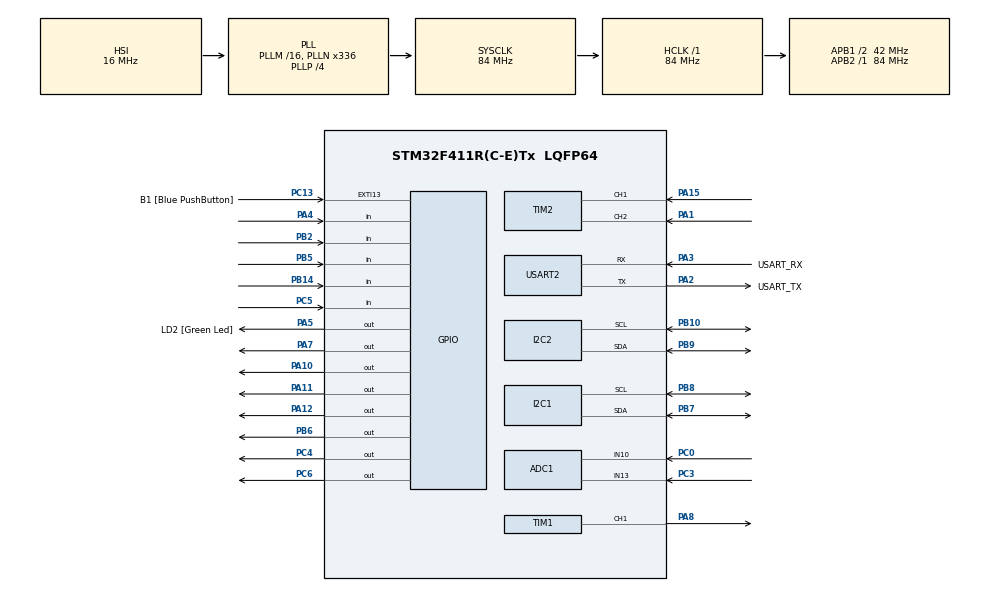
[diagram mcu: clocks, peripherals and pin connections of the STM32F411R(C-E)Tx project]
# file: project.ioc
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ADC1.Channel-0\#ChannelRegularConversion=ADC_CHANNEL_10
ADC1.ContinuousConvMode=ENABLE
ADC1.DMAContinuousRequests=ENABLE
ADC1.DiscontinuousConvMode=DISABLE
ADC1.NbrOfConversionFlag=1
ADC1.Rank-0\#ChannelRegularConversion=1
ADC1.SamplingTime-0\#ChannelRegularConversion=ADC_SAMPLETIME_56CYCLES
ADC1.ScanConvMode=ENABLE
ADC1.master=1
Dma.ADC1.0.Direction=DMA_PERIPH_TO_MEMORY
Dma.ADC1.0.FIFOMode=DMA_FIFOMODE_DISABLE
Dma.ADC1.0.Instance=DMA2_Stream0
Dma.ADC1.0.MemDataAlignment=DMA_MDATAALIGN_HALFWORD
Dma.ADC1.0.MemInc=DMA_MINC_ENABLE
Dma.ADC1.0.Mode=DMA_NORMAL
Dma.ADC1.0.PeriphDataAlignment=DMA_PDATAALIGN_HALFWORD
Dma.ADC1.0.PeriphInc=DMA_PINC_DISABLE
Dma.ADC1.0.Priority=DMA_PRIORITY_LOW
Dma.Request0=ADC1
Mcu.Family=STM32F4
Mcu.Name=STM32F411R(C-E)Tx
Mcu.Package=LQFP64
NVIC.ADC_IRQn=true\:0\:0\:false\:false\:true\:true\:true\:true
NVIC.DMA2_Stream0_IRQn=true\:0\:0\:false\:false\:true\:false\:true\:true
NVIC.PriorityGroup=NVIC_PRIORITYGROUP_0
PA1.Signal=S_TIM2_CH2
PA10.Signal=GPIO_Output
PA11.Signal=GPIO_Output
PA12.Signal=GPIO_Output
PA13.GPIO_Label=TMS
PA13.Mode=Serial_Wire
PA13.Signal=SYS_JTMS-SWDIO
PA14.GPIO_Label=TCK
PA14.Mode=Serial_Wire
PA14.Signal=SYS_JTCK-SWCLK
PA15.Signal=S_TIM2_CH1_ETR
PA2.GPIO_Label=USART_TX
PA2.Mode=Asynchronous
PA2.Signal=USART2_TX
PA3.GPIO_Label=USART_RX
PA3.Mode=Asynchronous
PA3.Signal=USART2_RX
PA4.Signal=GPIO_Input
PA5.GPIO_Label=LD2 [Green Led]
PA5.Signal=GPIO_Output
PA7.Signal=GPIO_Output
PA8.Signal=S_TIM1_CH1
PB10.Mode=I2C
PB10.Signal=I2C2_SCL
PB14.Signal=GPIO_Input
PB2.Signal=GPIO_Input
PB3.Signal=SYS_JTDO-SWO
PB5.Signal=GPIO_Input
PB6.GPIO_ModeDefaultOutputPP=GPIO_MODE_OUTPUT_OD
PB6.GPIO_PuPd=GPIO_PULLUP
PB6.Signal=GPIO_Output
PB7.Mode=I2C
PB7.Signal=I2C1_SDA
PB8.Mode=I2C
PB8.Signal=I2C1_SCL
PB9.Mode=I2C
PB9.Signal=I2C2_SDA
PC0.Signal=ADCx_IN10
PC13-ANTI_TAMP.GPIO_Label=B1 [Blue PushButton]
PC13-ANTI_TAMP.GPIO_ModeDefaultEXTI=GPIO_MODE_IT_FALLING
PC13-ANTI_TAMP.Signal=GPXTI13
PC14-OSC32_IN.Mode=LSE-External-Oscillator
PC14-OSC32_IN.Signal=RCC_OSC32_IN
PC15-OSC32_OUT.Mode=LSE-External-Oscillator
PC15-OSC32_OUT.Signal=RCC_OSC32_OUT
PC3.Signal=ADCx_IN13
PC4.Signal=GPIO_Output
PC5.GPIO_PuPd=GPIO_PULLUP
PC5.Signal=GPIO_Input
PC6.Signal=GPIO_Output
PH0\ -\ OSC_IN.Mode=HSE-External-Clock-Source
PH0\ -\ OSC_IN.Signal=RCC_OSC_IN
PH1\ -\ OSC_OUT.Mode=HSE-External-Clock-Source
PH1\ -\ OSC_OUT.Signal=RCC_OSC_OUT
ProjectManager.HeapSize=0x200
ProjectManager.StackSize=0x400
ProjectManager.TargetToolchain=STM32CubeIDE
RCC.48MHZClocksFreq_Value=84000000
RCC.AHBFreq_Value=84000000
RCC.APB1CLKDivider=RCC_HCLK_DIV2
RCC.APB1Freq_Value=42000000
RCC.APB1TimFreq_Value=84000000
RCC.APB2Freq_Value=84000000
RCC.APB2TimFreq_Value=84000000
RCC.CortexFreq_Value=84000000
RCC.FLatency-AdvancedSettings=FLASH_LATENCY_2
RCC.HCLKFreq_Value=84000000
RCC.HSE_VALUE=8000000
RCC.HSI_VALUE=16000000
RCC.PLLN=336
RCC.PLLP=RCC_PLLP_DIV4
RCC.SYSCLKFreq_VALUE=84000000
RCC.SYSCLKSource=RCC_SYSCLKSOURCE_PLLCLK
RCC.VCOOutputFreq_Value=336000000
SH.ADCx_IN10.0=ADC1_IN10,IN10
SH.ADCx_IN13.0=ADC1_IN13,IN13
SH.S_TIM1_CH1.0=TIM1_CH1,PWM Generation1 CH1
SH.S_TIM2_CH1_ETR.0=TIM2_CH1,Encoder_Interface
SH.S_TIM2_CH2.0=TIM2_CH2,Encoder_Interface
TIM1.Channel-PWM\ Generation1\ CH1=TIM_CHANNEL_1
TIM1.Period=999
TIM1.Prescaler=83
TIM2.EncoderMode=TIM_ENCODERMODE_TI12
USART2.VirtualMode=VM_ASYNC
VP_TIM5_VS_ClockSourceINT.Mode=Internal
board=NUCLEO-F411RE

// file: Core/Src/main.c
/* USER CODE BEGIN Header */
/**
 ******************************************************************************
 * @file           : main.c
 * @brief          : Main program body
 ******************************************************************************
 * @attention
 *
 * Copyright (c) 2023 STMicroelectronics.
 * All rights reserved.
 *
 * This software is licensed under terms that can be found in the LICENSE file
 * in the root directory of this software component.
 * If no LICENSE file comes with this software, it is provided AS-IS.
 *
 ******************************************************************************
 */
/* USER CODE END Header */
#include "main.h"

ADC_HandleTypeDef hadc1;
DMA_HandleTypeDef hdma_adc1;

I2C_HandleTypeDef hi2c1;
I2C_HandleTypeDef hi2c2;

TIM_HandleTypeDef htim1;
TIM_HandleTypeDef htim2;
TIM_HandleTypeDef htim5;

UART_HandleTypeDef huart2;

/* USER CODE BEGIN PV */
typedef struct {
	ADC_ChannelConfTypeDef Config;
	uint16_t data;
} ADCStruct;
ADCStruct ADCChannel[2];

uint16_t buffer[5];
uint8_t Emergency_signal = 1;
/* USER CODE END PV */

void SystemClock_Config(void);
static void MX_GPIO_Init(void);
static void MX_DMA_Init(void);
static void MX_USART2_UART_Init(void);
static void MX_TIM1_Init(void);
static void MX_TIM2_Init(void);
static void MX_TIM5_Init(void);
static void MX_ADC1_Init(void);
static void MX_I2C1_Init(void);
static void MX_I2C2_Init(void);

int main(void) {

	/* MCU Configuration--------------------------------------------------------*/

	/* Reset of all peripherals, Initializes the Flash interface and the Systick. */
	HAL_Init();

	/* Configure the system clock */
	SystemClock_Config();

	/* Initialize all configured peripherals */
	MX_GPIO_Init();
	MX_DMA_Init();
	MX_USART2_UART_Init();
	MX_TIM1_Init();
	MX_TIM2_Init();
	MX_TIM5_Init();
	MX_ADC1_Init();
	MX_I2C1_Init();
	MX_I2C2_Init();
	/* USER CODE BEGIN 2 */
	HAL_TIM_Base_Start(&htim1);
	HAL_TIM_PWM_Start(&htim1, TIM_CHANNEL_1);

	HAL_ADC_Start_DMA(&hadc1, buffer, 5);
	/* USER CODE END 2 */

	/* Infinite loop */
	while (1) {

		/* USER CODE BEGIN 3 */
		static uint32_t timestamp = 0;
		static uint8_t step = 1;
		Emergency_signal = HAL_GPIO_ReadPin(GPIOC, GPIO_PIN_5);
		if (Emergency_signal) {
			if (HAL_GetTick() > timestamp) {
				timestamp = HAL_GetTick() + 1000;
				switch (step) {
				case 1:
					HAL_GPIO_WritePin(GPIOA, GPIO_PIN_10, 1);
					HAL_GPIO_WritePin(GPIOA, GPIO_PIN_11, 0);
					HAL_GPIO_WritePin(GPIOA, GPIO_PIN_12, 0);
					step += 1;
					break;
				case 2:
					HAL_GPIO_WritePin(GPIOA, GPIO_PIN_10, 0);
					HAL_GPIO_WritePin(GPIOA, GPIO_PIN_11, 1);
					HAL_GPIO_WritePin(GPIOA, GPIO_PIN_12, 0);
					step += 1;
					break;
				case 3:
					HAL_GPIO_WritePin(GPIOA, GPIO_PIN_10, 0);
					HAL_GPIO_WritePin(GPIOA, GPIO_PIN_11, 0);
					HAL_GPIO_WritePin(GPIOA, GPIO_PIN_12, 1);
					step = 1;
					break;
				}
			}
			// HAL_GPIO_TogglePin(GPIOA, GPIO_PIN_10);
			// HAL_GPIO_TogglePin(GPIOA, GPIO_PIN_11);
			//HAL_GPIO_TogglePin(GPIOA, GPIO_PIN_12);
			//HAL_GPIO_TogglePin(GPIOC, GPIO_PIN_6);
			//__HAL_TIM_SET_COMPARE(&htim1, TIM_CHANNEL_1, 1000);

		} else {
			HAL_GPIO_WritePin(GPIOA, GPIO_PIN_10, 1);
			HAL_GPIO_WritePin(GPIOA, GPIO_PIN_11, 1);
			HAL_GPIO_WritePin(GPIOA, GPIO_PIN_12, 1);
		}
	}
	/* USER CODE END 3 */
}

void SystemClock_Config(void) {
	RCC_OscInitTypeDef RCC_OscInitStruct = { 0 };
	RCC_ClkInitTypeDef RCC_ClkInitStruct = { 0 };

	/** Configure the main internal regulator output voltage
	 */
	__HAL_RCC_PWR_CLK_ENABLE();
	__HAL_PWR_VOLTAGESCALING_CONFIG(PWR_REGULATOR_VOLTAGE_SCALE1);

	/** Initializes the RCC Oscillators according to the specified parameters
	 * in the RCC_OscInitTypeDef structure.
	 */
	RCC_OscInitStruct.OscillatorType = RCC_OSCILLATORTYPE_HSI;
	RCC_OscInitStruct.HSIState = RCC_HSI_ON;
	RCC_OscInitStruct.HSICalibrationValue = RCC_HSICALIBRATION_DEFAULT;
	RCC_OscInitStruct.PLL.PLLState = RCC_PLL_ON;
	RCC_OscInitStruct.PLL.PLLSource = RCC_PLLSOURCE_HSI;
	RCC_OscInitStruct.PLL.PLLM = 16;
	RCC_OscInitStruct.PLL.PLLN = 336;
	RCC_OscInitStruct.PLL.PLLP = RCC_PLLP_DIV4;
	RCC_OscInitStruct.PLL.PLLQ = 4;
	if (HAL_RCC_OscConfig(&RCC_OscInitStruct) != HAL_OK) {
		Error_Handler();
	}

	/** Initializes the CPU, AHB and APB buses clocks
	 */
	RCC_ClkInitStruct.ClockType = RCC_CLOCKTYPE_HCLK | RCC_CLOCKTYPE_SYSCLK
			| RCC_CLOCKTYPE_PCLK1 | RCC_CLOCKTYPE_PCLK2;
	RCC_ClkInitStruct.SYSCLKSource = RCC_SYSCLKSOURCE_PLLCLK;
	RCC_ClkInitStruct.AHBCLKDivider = RCC_SYSCLK_DIV1;
	RCC_ClkInitStruct.APB1CLKDivider = RCC_HCLK_DIV2;
	RCC_ClkInitStruct.APB2CLKDivider = RCC_HCLK_DIV1;

	if (HAL_RCC_ClockConfig(&RCC_ClkInitStruct, FLASH_LATENCY_2) != HAL_OK) {
		Error_Handler();
	}
}

static void MX_ADC1_Init(void) {

	ADC_ChannelConfTypeDef sConfig = { 0 };

	/** Configure the global features of the ADC (Clock, Resolution, Data Alignment and number of conversion)
	 */
	hadc1.Instance = ADC1;
	hadc1.Init.ClockPrescaler = ADC_CLOCK_SYNC_PCLK_DIV4;
	hadc1.Init.Resolution = ADC_RESOLUTION_12B;
	hadc1.Init.ScanConvMode = ENABLE;
	hadc1.Init.ContinuousConvMode = ENABLE;
	hadc1.Init.DiscontinuousConvMode = DISABLE;
	hadc1.Init.ExternalTrigConvEdge = ADC_EXTERNALTRIGCONVEDGE_NONE;
	hadc1.Init.ExternalTrigConv = ADC_SOFTWARE_START;
	hadc1.Init.DataAlign = ADC_DATAALIGN_RIGHT;
	hadc1.Init.NbrOfConversion = 1;
	hadc1.Init.DMAContinuousRequests = ENABLE;
	hadc1.Init.EOCSelection = ADC_EOC_SINGLE_CONV;
	if (HAL_ADC_Init(&hadc1) != HAL_OK) {
		Error_Handler();
	}

	/** Configure for the selected ADC regular channel its corresponding rank in the sequencer and its sample time.
	 */
	sConfig.Channel = ADC_CHANNEL_10;
	sConfig.Rank = 1;
	sConfig.SamplingTime = ADC_SAMPLETIME_56CYCLES;
	if (HAL_ADC_ConfigChannel(&hadc1, &sConfig) != HAL_OK) {
		Error_Handler();
	}

}

static void MX_I2C1_Init(void) {

	hi2c1.Instance = I2C1;
	hi2c1.Init.ClockSpeed = 100000;
	hi2c1.Init.DutyCycle = I2C_DUTYCYCLE_2;
	hi2c1.Init.OwnAddress1 = 0;
	hi2c1.Init.AddressingMode = I2C_ADDRESSINGMODE_7BIT;
	hi2c1.Init.DualAddressMode = I2C_DUALADDRESS_DISABLE;
	hi2c1.Init.OwnAddress2 = 0;
	hi2c1.Init.GeneralCallMode = I2C_GENERALCALL_DISABLE;
	hi2c1.Init.NoStretchMode = I2C_NOSTRETCH_DISABLE;
	if (HAL_I2C_Init(&hi2c1) != HAL_OK) {
		Error_Handler();
	}

}

static void MX_I2C2_Init(void) {

	hi2c2.Instance = I2C2;
	hi2c2.Init.ClockSpeed = 100000;
	hi2c2.Init.DutyCycle = I2C_DUTYCYCLE_2;
	hi2c2.Init.OwnAddress1 = 0;
	hi2c2.Init.AddressingMode = I2C_ADDRESSINGMODE_7BIT;
	hi2c2.Init.DualAddressMode = I2C_DUALADDRESS_DISABLE;
	hi2c2.Init.OwnAddress2 = 0;
	hi2c2.Init.GeneralCallMode = I2C_GENERALCALL_DISABLE;
	hi2c2.Init.NoStretchMode = I2C_NOSTRETCH_DISABLE;
	if (HAL_I2C_Init(&hi2c2) != HAL_OK) {
		Error_Handler();
	}

}

static void MX_TIM1_Init(void) {

	TIM_MasterConfigTypeDef sMasterConfig = { 0 };
	TIM_OC_InitTypeDef sConfigOC = { 0 };
	TIM_BreakDeadTimeConfigTypeDef sBreakDeadTimeConfig = { 0 };

	htim1.Instance = TIM1;
	htim1.Init.Prescaler = 83;
	htim1.Init.CounterMode = TIM_COUNTERMODE_UP;
	htim1.Init.Period = 999;
	htim1.Init.ClockDivision = TIM_CLOCKDIVISION_DIV1;
	htim1.Init.RepetitionCounter = 0;
	htim1.Init.AutoReloadPreload = TIM_AUTORELOAD_PRELOAD_DISABLE;
	if (HAL_TIM_PWM_Init(&htim1) != HAL_OK) {
		Error_Handler();
	}
	sMasterConfig.MasterOutputTrigger = TIM_TRGO_RESET;
	sMasterConfig.MasterSlaveMode = TIM_MASTERSLAVEMODE_DISABLE;
	if (HAL_TIMEx_MasterConfigSynchronization(&htim1, &sMasterConfig)
			!= HAL_OK) {
		Error_Handler();
	}
	sConfigOC.OCMode = TIM_OCMODE_PWM1;
	sConfigOC.Pulse = 0;
	sConfigOC.OCPolarity = TIM_OCPOLARITY_HIGH;
	sConfigOC.OCNPolarity = TIM_OCNPOLARITY_HIGH;
	sConfigOC.OCFastMode = TIM_OCFAST_DISABLE;
	sConfigOC.OCIdleState = TIM_OCIDLESTATE_RESET;
	sConfigOC.OCNIdleState = TIM_OCNIDLESTATE_RESET;
	if (HAL_TIM_PWM_ConfigChannel(&htim1, &sConfigOC, TIM_CHANNEL_1)
			!= HAL_OK) {
		Error_Handler();
	}
	sBreakDeadTimeConfig.OffStateRunMode = TIM_OSSR_DISABLE;
	sBreakDeadTimeConfig.OffStateIDLEMode = TIM_OSSI_DISABLE;
	sBreakDeadTimeConfig.LockLevel = TIM_LOCKLEVEL_OFF;
	sBreakDeadTimeConfig.DeadTime = 0;
	sBreakDeadTimeConfig.BreakState = TIM_BREAK_DISABLE;
	sBreakDeadTimeConfig.BreakPolarity = TIM_BREAKPOLARITY_HIGH;
	sBreakDeadTimeConfig.AutomaticOutput = TIM_AUTOMATICOUTPUT_DISABLE;
	if (HAL_TIMEx_ConfigBreakDeadTime(&htim1, &sBreakDeadTimeConfig)
			!= HAL_OK) {
		Error_Handler();
	}
	HAL_TIM_MspPostInit(&htim1);

}

static void MX_TIM2_Init(void) {

	TIM_Encoder_InitTypeDef sConfig = { 0 };
	TIM_MasterConfigTypeDef sMasterConfig = { 0 };

	htim2.Instance = TIM2;
	htim2.Init.Prescaler = 0;
	htim2.Init.CounterMode = TIM_COUNTERMODE_UP;
	htim2.Init.Period = 4294967295;
	htim2.Init.ClockDivision = TIM_CLOCKDIVISION_DIV1;
	htim2.Init.AutoReloadPreload = TIM_AUTORELOAD_PRELOAD_DISABLE;
	sConfig.EncoderMode = TIM_ENCODERMODE_TI12;
	sConfig.IC1Polarity = TIM_ICPOLARITY_RISING;
	sConfig.IC1Selection = TIM_ICSELECTION_DIRECTTI;
	sConfig.IC1Prescaler = TIM_ICPSC_DIV1;
	sConfig.IC1Filter = 0;
	sConfig.IC2Polarity = TIM_ICPOLARITY_RISING;
	sConfig.IC2Selection = TIM_ICSELECTION_DIRECTTI;
	sConfig.IC2Prescaler = TIM_ICPSC_DIV1;
	sConfig.IC2Filter = 0;
	if (HAL_TIM_Encoder_Init(&htim2, &sConfig) != HAL_OK) {
		Error_Handler();
	}
	sMasterConfig.MasterOutputTrigger = TIM_TRGO_RESET;
	sMasterConfig.MasterSlaveMode = TIM_MASTERSLAVEMODE_DISABLE;
	if (HAL_TIMEx_MasterConfigSynchronization(&htim2, &sMasterConfig)
			!= HAL_OK) {
		Error_Handler();
	}

}

static void MX_TIM5_Init(void) {

	TIM_ClockConfigTypeDef sClockSourceConfig = { 0 };
	TIM_MasterConfigTypeDef sMasterConfig = { 0 };

	htim5.Instance = TIM5;
	htim5.Init.Prescaler = 0;
	htim5.Init.CounterMode = TIM_COUNTERMODE_UP;
	htim5.Init.Period = 4294967295;
	htim5.Init.ClockDivision = TIM_CLOCKDIVISION_DIV1;
	htim5.Init.AutoReloadPreload = TIM_AUTORELOAD_PRELOAD_DISABLE;
	if (HAL_TIM_Base_Init(&htim5) != HAL_OK) {
		Error_Handler();
	}
	sClockSourceConfig.ClockSource = TIM_CLOCKSOURCE_INTERNAL;
	if (HAL_TIM_ConfigClockSource(&htim5, &sClockSourceConfig) != HAL_OK) {
		Error_Handler();
	}
	sMasterConfig.MasterOutputTrigger = TIM_TRGO_RESET;
	sMasterConfig.MasterSlaveMode = TIM_MASTERSLAVEMODE_DISABLE;
	if (HAL_TIMEx_MasterConfigSynchronization(&htim5, &sMasterConfig)
			!= HAL_OK) {
		Error_Handler();
	}

}

static void MX_USART2_UART_Init(void) {

	huart2.Instance = USART2;
	huart2.Init.BaudRate = 115200;
	huart2.Init.WordLength = UART_WORDLENGTH_8B;
	huart2.Init.StopBits = UART_STOPBITS_1;
	huart2.Init.Parity = UART_PARITY_NONE;
	huart2.Init.Mode = UART_MODE_TX_RX;
	huart2.Init.HwFlowCtl = UART_HWCONTROL_NONE;
	huart2.Init.OverSampling = UART_OVERSAMPLING_16;
	if (HAL_UART_Init(&huart2) != HAL_OK) {
		Error_Handler();
	}

}

static void MX_DMA_Init(void) {

	/* DMA controller clock enable */
	__HAL_RCC_DMA2_CLK_ENABLE();

	/* DMA interrupt init */
	/* DMA2_Stream0_IRQn interrupt configuration */
	HAL_NVIC_SetPriority(DMA2_Stream0_IRQn, 0, 0);
	HAL_NVIC_EnableIRQ(DMA2_Stream0_IRQn);

}

static void MX_GPIO_Init(void) {
	GPIO_InitTypeDef GPIO_InitStruct = { 0 };

	/* GPIO Ports Clock Enable */
	__HAL_RCC_GPIOC_CLK_ENABLE();
	__HAL_RCC_GPIOH_CLK_ENABLE();
	__HAL_RCC_GPIOA_CLK_ENABLE();
	__HAL_RCC_GPIOB_CLK_ENABLE();

	/*Configure GPIO pin Output Level */
	HAL_GPIO_WritePin(GPIOA,
	LD2_Pin | GPIO_PIN_7 | GPIO_PIN_10 | GPIO_PIN_11 | GPIO_PIN_12,
			GPIO_PIN_RESET);

	/*Configure GPIO pin Output Level */
	HAL_GPIO_WritePin(GPIOC, GPIO_PIN_4 | GPIO_PIN_6, GPIO_PIN_RESET);

	/*Configure GPIO pin Output Level */
	HAL_GPIO_WritePin(GPIOB, GPIO_PIN_6, GPIO_PIN_RESET);

	/*Configure GPIO pin : B1_Pin */
	GPIO_InitStruct.Pin = B1_Pin;
	GPIO_InitStruct.Mode = GPIO_MODE_IT_FALLING;
	GPIO_InitStruct.Pull = GPIO_NOPULL;
	HAL_GPIO_Init(B1_GPIO_Port, &GPIO_InitStruct);

	/*Configure GPIO pin : PA4 */
	GPIO_InitStruct.Pin = GPIO_PIN_4;
	GPIO_InitStruct.Mode = GPIO_MODE_INPUT;
	GPIO_InitStruct.Pull = GPIO_NOPULL;
	HAL_GPIO_Init(GPIOA, &GPIO_InitStruct);

	/*Configure GPIO pins : LD2_Pin PA7 PA10 PA11
	 PA12 */
	GPIO_InitStruct.Pin = LD2_Pin | GPIO_PIN_7 | GPIO_PIN_10 | GPIO_PIN_11
			| GPIO_PIN_12;
	GPIO_InitStruct.Mode = GPIO_MODE_OUTPUT_PP;
	GPIO_InitStruct.Pull = GPIO_NOPULL;
	GPIO_InitStruct.Speed = GPIO_SPEED_FREQ_LOW;
	HAL_GPIO_Init(GPIOA, &GPIO_InitStruct);

	/*Configure GPIO pins : PC4 PC6 */
	GPIO_InitStruct.Pin = GPIO_PIN_4 | GPIO_PIN_6;
	GPIO_InitStruct.Mode = GPIO_MODE_OUTPUT_PP;
	GPIO_InitStruct.Pull = GPIO_NOPULL;
	GPIO_InitStruct.Speed = GPIO_SPEED_FREQ_LOW;
	HAL_GPIO_Init(GPIOC, &GPIO_InitStruct);

	/*Configure GPIO pin : PC5 */
	GPIO_InitStruct.Pin = GPIO_PIN_5;
	GPIO_InitStruct.Mode = GPIO_MODE_INPUT;
	GPIO_InitStruct.Pull = GPIO_PULLUP;
	HAL_GPIO_Init(GPIOC, &GPIO_InitStruct);

	/*Configure GPIO pins : PB2 PB14 PB5 */
	GPIO_InitStruct.Pin = GPIO_PIN_2 | GPIO_PIN_14 | GPIO_PIN_5;
	GPIO_InitStruct.Mode = GPIO_MODE_INPUT;
	GPIO_InitStruct.Pull = GPIO_NOPULL;
	HAL_GPIO_Init(GPIOB, &GPIO_InitStruct);

	/*Configure GPIO pin : PB6 */
	GPIO_InitStruct.Pin = GPIO_PIN_6;
	GPIO_InitStruct.Mode = GPIO_MODE_OUTPUT_OD;
	GPIO_InitStruct.Pull = GPIO_PULLUP;
	GPIO_InitStruct.Speed = GPIO_SPEED_FREQ_LOW;
	HAL_GPIO_Init(GPIOB, &GPIO_InitStruct);

}

void Error_Handler(void) {
	__disable_irq();
	while (1) {
	}
}
